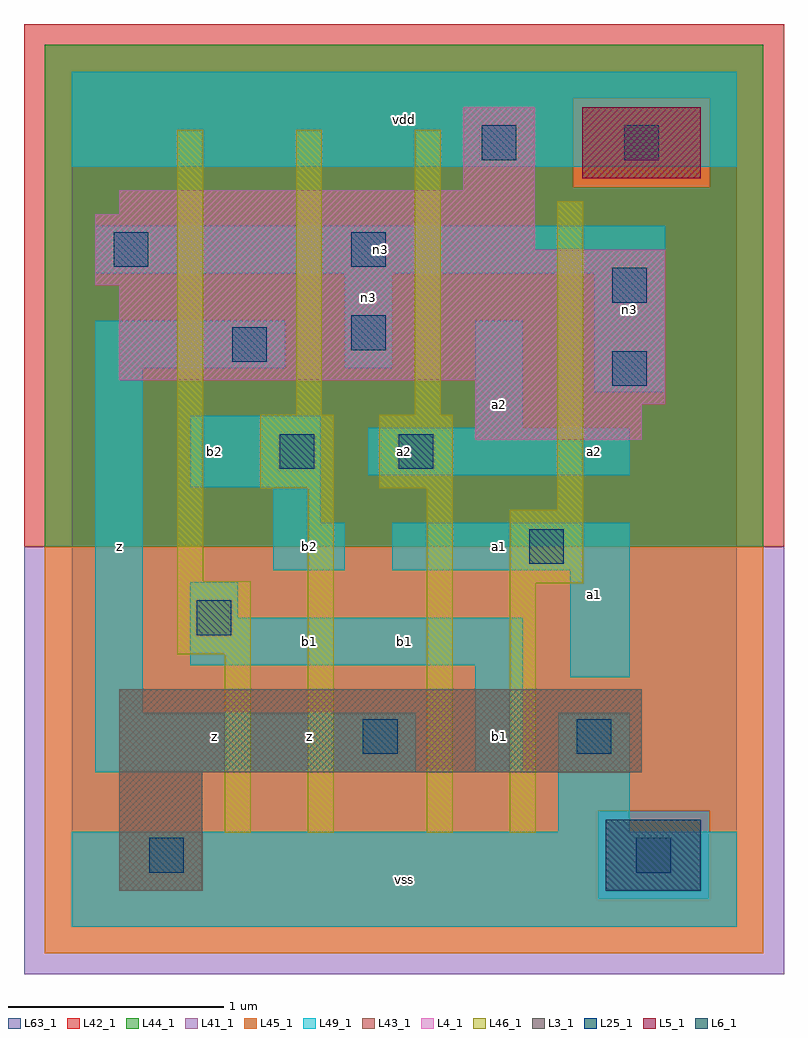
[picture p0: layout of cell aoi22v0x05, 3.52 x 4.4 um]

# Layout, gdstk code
import gdstk
lib = gdstk.Library(unit=1e-6, precision=1e-09)
def R(c, l, rs):  # rectangles x0, y0, x1, y1
    for r in rs: c.add(gdstk.rectangle(r[:2], r[2:], *l))
L3_1 = (3, 1)
L4_1 = (4, 1)
L5_1 = (5, 1)
L6_1 = (6, 1)
L25_1 = (25, 1)
L41_1 = (41, 1)
L42_1 = (42, 1)
L43_1 = (43, 1)
L44_1 = (44, 1)
L45_1 = (45, 1)
L46_1 = (46, 1)
L49_1 = (49, 1)
L63_1 = (63, 1)

aoi22v0x05 = lib.new_cell('aoi22v0x05')
R(aoi22v0x05, L3_1, [(0.22,0.165,0.605,0.715), (0.22,0.715,2.64,1.1)])
R(aoi22v0x05, L4_1, [(1.87,2.255,2.64,2.42), (1.87,2.42,2.75,2.53), (0.22,2.53,2.75,2.97), (0.11,2.97,2.75,3.135), (0.11,3.135,2.145,3.3), (0.22,3.3,2.145,3.41), (1.815,3.41,2.145,3.795)])
R(aoi22v0x05, L5_1, [(2.365,3.465,2.915,3.795)])
R(aoi22v0x05, L6_1, [(2.475,0.165,2.915,0.495)])
R(aoi22v0x05, L25_1, [(0.36,0.25,0.52,0.41), (2.615,0.25,2.775,0.41), (1.35,0.8,1.51,0.96), (2.34,0.8,2.5,0.96), (0.58,1.35,0.74,1.51), (2.12,1.68,2.28,1.84), (0.965,2.12,1.125,2.28), (1.515,2.12,1.675,2.28), (2.505,2.505,2.665,2.665), (0.745,2.615,0.905,2.775), (1.295,2.67,1.455,2.83), (2.505,2.89,2.665,3.05), (0.195,3.055,0.355,3.215), (1.295,3.055,1.455,3.215), (1.9,3.55,2.06,3.71), (2.56,3.55,2.72,3.71)])
R(aoi22v0x05, L41_1, [(-0.22,-0.22,3.3,1.76)])
R(aoi22v0x05, L42_1, [(-0.22,1.76,3.3,4.18)])
R(aoi22v0x05, L43_1, [(0.22,0.165,0.605,0.715), (2.475,0.165,2.915,0.495), (0.22,0.715,2.64,1.1), (1.87,2.255,2.64,2.42), (1.87,2.42,2.75,2.53), (0.22,2.53,2.75,2.97), (0.11,2.97,2.75,3.135), (0.11,3.135,2.145,3.3), (0.22,3.3,2.145,3.41), (1.815,3.41,2.145,3.795), (2.365,3.465,2.915,3.795)])
R(aoi22v0x05, L44_1, [(2.435,0.125,2.955,0.535), (-0.125,1.76,3.205,3.425), (-0.125,3.425,2.325,3.835), (2.955,3.425,3.205,3.835), (-0.125,3.835,3.205,4.085)])
R(aoi22v0x05, L45_1, [(-0.125,-0.125,3.205,0.125), (-0.125,0.125,2.435,0.535), (2.955,0.125,3.205,0.535), (-0.125,0.535,3.205,1.76), (2.325,3.425,2.955,3.835)])
R(aoi22v0x05, L46_1, [(0.71,0.435,0.83,1.26), (1.095,0.435,1.215,2.03), (1.645,0.435,1.765,2.03), (2.03,0.435,2.15,1.59), (0.49,1.26,0.83,1.6), (2.03,1.59,2.37,1.93), (0.49,1.6,0.61,3.69), (2.25,1.93,2.37,3.36), (0.875,2.03,1.215,2.37), (1.425,2.03,1.765,2.37), (1.04,2.37,1.16,3.69), (1.59,2.37,1.71,3.69)])
R(aoi22v0x05, L49_1, [(0,0,3.08,0.44), (2.255,0.44,2.585,0.99), (0.11,0.715,1.595,0.99), (1.87,0.715,2.09,1.21), (0.11,0.99,0.33,2.585), (2.31,1.155,2.585,1.65), (0.55,1.21,2.09,1.43), (0.55,1.43,0.77,1.595), (0.935,1.65,1.265,1.87), (1.485,1.65,2.585,1.87), (0.935,1.87,1.155,2.035), (0.55,2.035,1.155,2.365), (1.375,2.09,2.585,2.31), (1.87,2.31,2.09,2.805), (2.42,2.475,2.75,3.025), (0.11,2.585,0.99,2.805), (1.265,2.585,1.485,3.025), (0.11,3.025,2.75,3.245), (0,3.52,3.08,3.96)])
R(aoi22v0x05, L63_1, [(0,0,3.08,3.96)])
aoi22v0x05.add(gdstk.Label('z', (0.22,1.76), layer=49, texttype=1))
aoi22v0x05.add(gdstk.Label('z', (1.1,0.88), layer=49, texttype=1))
aoi22v0x05.add(gdstk.Label('z', (0.66,0.88), layer=49, texttype=1))
aoi22v0x05.add(gdstk.Label('b1', (1.1,1.32), layer=49, texttype=1))
aoi22v0x05.add(gdstk.Label('b2', (1.1,1.76), layer=49, texttype=1))
aoi22v0x05.add(gdstk.Label('b2', (0.66,2.2), layer=49, texttype=1))
aoi22v0x05.add(gdstk.Label('n3', (1.375,2.915), layer=49, texttype=1))
aoi22v0x05.add(gdstk.Label('vss', (1.54,0.22), layer=49, texttype=1))
aoi22v0x05.add(gdstk.Label('b1', (1.98,0.88), layer=49, texttype=1))
aoi22v0x05.add(gdstk.Label('b1', (1.54,1.32), layer=49, texttype=1))
aoi22v0x05.add(gdstk.Label('a1', (1.98,1.76), layer=49, texttype=1))
aoi22v0x05.add(gdstk.Label('a2', (1.54,2.2), layer=49, texttype=1))
aoi22v0x05.add(gdstk.Label('a2', (1.98,2.42), layer=49, texttype=1))
aoi22v0x05.add(gdstk.Label('vdd', (1.54,3.74), layer=49, texttype=1))
aoi22v0x05.add(gdstk.Label('a1', (2.42,1.54), layer=49, texttype=1))
aoi22v0x05.add(gdstk.Label('a2', (2.42,2.2), layer=49, texttype=1))
aoi22v0x05.add(gdstk.Label('n3', (2.585,2.86), layer=49, texttype=1))
aoi22v0x05.add(gdstk.Label('n3', (1.43,3.135), layer=49, texttype=1))

lib.write_gds('aoi22v0x05.gds')
